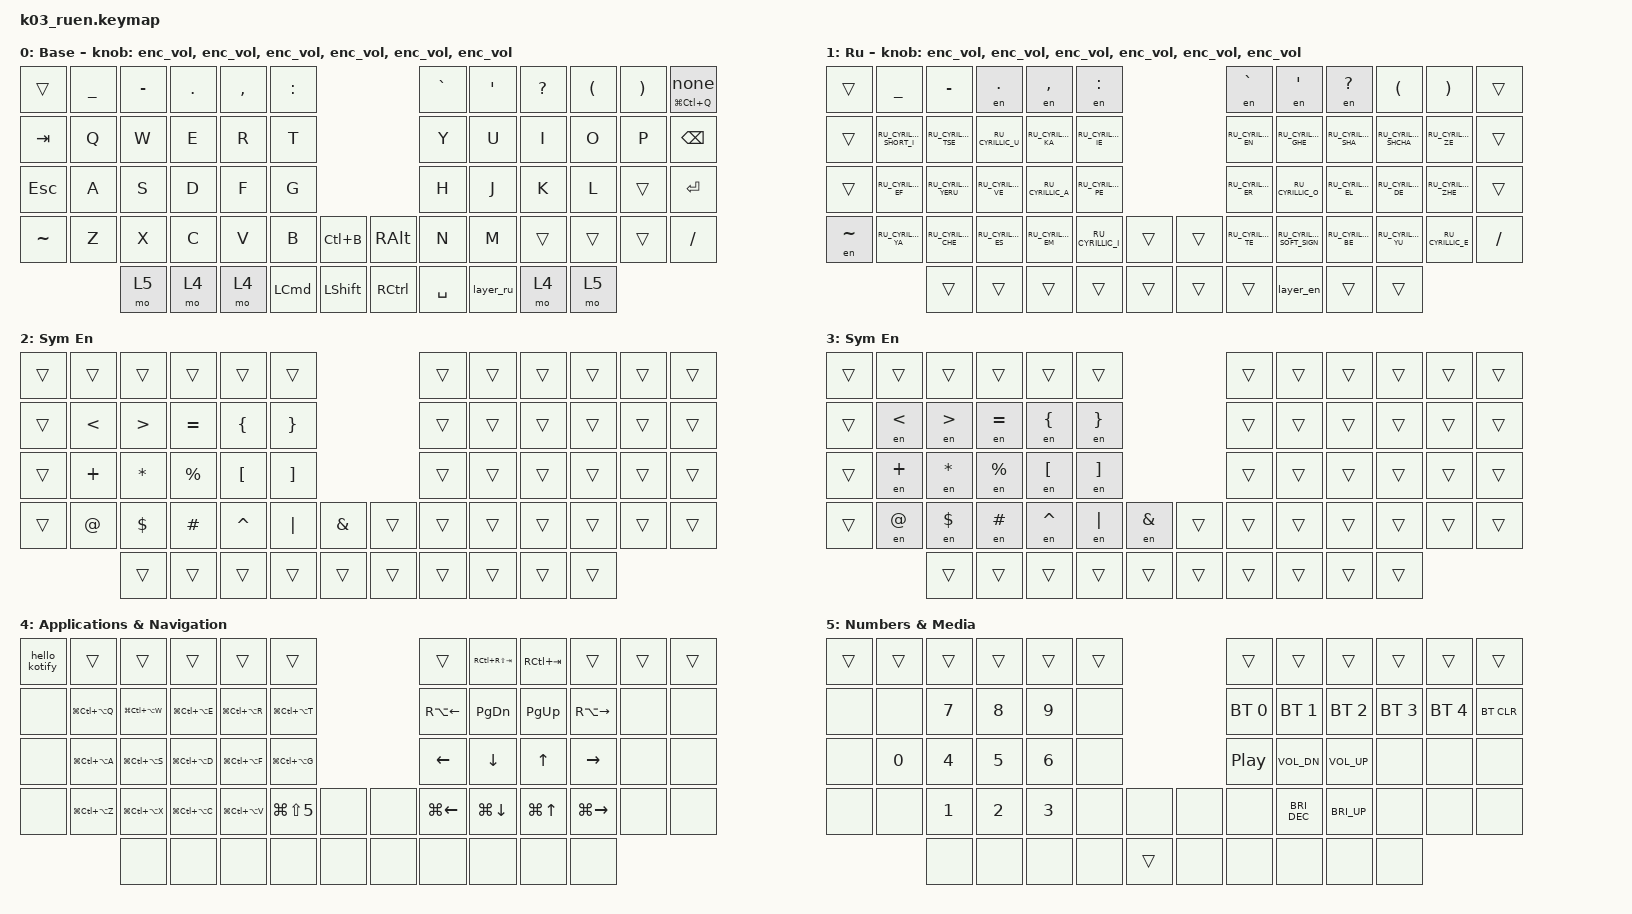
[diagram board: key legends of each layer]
#include "keys_ru.h"
#include <behaviors.dtsi>
#include <dt-bindings/zmk/bt.h>
#include <dt-bindings/zmk/keys.h>

/ {
    behaviors {
        enc_vol: enc_vol {
            compatible = "zmk,behavior-sensor-rotate";
            label = "ENC_VOL";
            #sensor-binding-cells = <0>;
            bindings = <&kp C_VOL_UP>, <&kp C_VOL_DN>;
        };

        long_hold: long_hold {
            compatible = "zmk,behavior-hold-tap";
            label = "LONG_HOLD";
            #binding-cells = <2>;
            flavor = "tap-preferred";
            tapping-term-ms = <1000>;
            bindings = <&kp>, <&none>;
        };
    };

    combos {
        compatible = "zmk,combos";

        kha {
            bindings = <&kp RU_CYRILLIC_HA>;
            key-positions = <19 20>;
            layers = <1>;
        };

        hrdsgn {
            bindings = <&kp RU_CYRILLIC_HARD_SIGN>;
            key-positions = <45 46>;
            layers = <1>;
        };

        semicolon_en {
            bindings = <&kp SEMICOLON>;
            key-positions = <3 4>;
            layers = <0>;
        };

        semicolon_ru {
            bindings = <&en SEMI>;
            key-positions = <3 4>;
            layers = <1>;
        };

        double_quote_en {
            bindings = <&kp DOUBLE_QUOTES>;
            key-positions = <6 7>;
            layers = <0>;
        };

        yo {
            bindings = <&kp BACKSLASH>;
            key-positions = <17 16>;
            layers = <1>;
        };

        exclamation {
            bindings = <&kp EXCLAMATION>;
            key-positions = <7 8>;
        };

        sym_en {
            bindings = <&mo 2>;
            key-positions = <58 59>;
            layers = <0>;
        };

        sym_ru {
            bindings = <&mo 3>;
            key-positions = <58 59>;
            layers = <1>;
        };

        back_slash_en {
            bindings = <&kp BACKSLASH>;
            key-positions = <49 48>;
            layers = <0>;
        };

        backslash_ru {
            bindings = <&en BACKSLASH>;
            key-positions = <49 48>;
            layers = <1>;
        };

        double_quote_ru {
            bindings = <&en DOUBLE_QUOTES>;
            key-positions = <6 7>;
            layers = <1>;
        };
    };

    macros {
        to_ru: to_ru {
            compatible = "zmk,behavior-macro";
            #binding-cells = <0>;
            bindings = <&kp LS(LC(N2))>;
            label = "TO_RU";
            wait-ms = <0>;
            tap-ms = <30>;
        };

        to_en: to_en {
            compatible = "zmk,behavior-macro";
            #binding-cells = <0>;
            bindings = <&kp LS(LC(N1))>;
            label = "TO_EN";
            wait-ms = <0>;
            tap-ms = <30>;
        };

        layer_en: layer_en {
            compatible = "zmk,behavior-macro";
            #binding-cells = <0>;
            bindings = <&to 0 &to_en>;
            label = "LAYER_EN";
            wait-ms = <0>;
            tap-ms = <30>;
        };

        layer_ru: layer_ru {
            compatible = "zmk,behavior-macro";
            #binding-cells = <0>;
            bindings = <&to 1 &to_ru>;
            label = "LAYER_RU";
            tap-ms = <30>;
            wait-ms = <0>;
        };

        en: en {
            compatible = "zmk,behavior-macro-one-param";
            #binding-cells = <1>;
            bindings =
                <&to_en>,
                <&macro_press>,
                <&macro_param_1to1 &kp MACRO_PLACEHOLDER>,
                <&macro_pause_for_release>,
                <&macro_release>,
                <&macro_param_1to1 &kp MACRO_PLACEHOLDER>,
                <&macro_tap>,
                <&to_ru>;

            label = "EN";
            wait-ms = <0>;
            tap-ms = <30>;
        };

        hello_kotify: hello_kotify {
            compatible = "zmk,behavior-macro";
            #binding-cells = <0>;
            bindings =
                <&kp LG(LA(LC(G)))>,
                <&macro_wait_time 50>,
                <&kp ESC &kp ESC &kp LG(F)>,
                <&macro_wait_time 50>,
                <&kp K &kp O &kp T &kp I &kp F &kp Y &kp SPACE &kp S &kp E &kp R>,
                <&macro_wait_time 300>,
                <&kp ENTER>,
                <&macro_wait_time 100>,
                <&kp LS(LC(N2))>,
                <&macro_wait_time 50>,
                <&kp LS(G) &kp H &kp B &kp D &kp T &kp N>,
                <&macro_wait_time 50>,
                <&kp LS(LC(N1))>;

            label = "HELLO_KOTIFY";
        };
    };

    keymap {
        compatible = "zmk,keymap";

        en {
            bindings = <
&trans     &kp UNDERSCORE  &kp MINUS  &kp DOT  &kp COMMA  &kp COLON                                          &kp GRAVE  &kp SINGLE_QUOTE  &kp QUESTION  &kp LEFT_PARENTHESIS  &kp RIGHT_PARENTHESIS  &long_hold LG(LC(Q)) 0
&kp TAB    &kp Q           &kp W      &kp E    &kp R      &kp T                                              &kp Y      &kp U             &kp I         &kp O                 &kp P                  &kp BACKSPACE
&kp ESC    &kp A           &kp S      &kp D    &kp F      &kp G                                              &kp H      &kp J             &kp K         &kp L                 &trans                 &kp ENTER
&kp TILDE  &kp Z           &kp X      &kp C    &kp V      &kp B             &kp LC(B)         &kp RIGHT_ALT  &kp N      &kp M             &trans        &trans                &trans                 &kp SLASH
                           &mo 5      &mo 4    &mo 4      &kp LEFT_COMMAND  &kp LEFT_SHIFT    &kp RCTRL      &kp SPACE  &layer_ru         &mo 4         &mo 5
            >;

            display-name = "Base";
            sensor-bindings =
                <&enc_vol>,
                <&enc_vol>,
                <&enc_vol>,
                <&enc_vol>,
                <&enc_vol>,
                <&enc_vol>;
        };

        ru {
            display-name = "Ru";
            bindings = <
&trans     &kp UNDERSCORE           &kp MINUS             &en DOT             &en COMMA           &en COLON                             &en GRAVE           &en SINGLE_QUOTE           &en QUESTION         &kp LEFT_PARENTHESIS   &kp RIGHT_PARENTHESIS  &trans
&trans     &kp RU_CYRILLIC_SHORT_I  &kp RU_CYRILLIC_TSE   &kp RU_CYRILLIC_U   &kp RU_CYRILLIC_KA  &kp RU_CYRILLIC_IE                    &kp RU_CYRILLIC_EN  &kp RU_CYRILLIC_GHE        &kp RU_CYRILLIC_SHA  &kp RU_CYRILLIC_SHCHA  &kp RU_CYRILLIC_ZE     &trans
&trans     &kp RU_CYRILLIC_EF       &kp RU_CYRILLIC_YERU  &kp RU_CYRILLIC_VE  &kp RU_CYRILLIC_A   &kp RU_CYRILLIC_PE                    &kp RU_CYRILLIC_ER  &kp RU_CYRILLIC_O          &kp RU_CYRILLIC_EL   &kp RU_CYRILLIC_DE     &kp RU_CYRILLIC_ZHE    &trans
&en TILDE  &kp RU_CYRILLIC_YA       &kp RU_CYRILLIC_CHE   &kp RU_CYRILLIC_ES  &kp RU_CYRILLIC_EM  &kp RU_CYRILLIC_I   &trans    &trans  &kp RU_CYRILLIC_TE  &kp RU_CYRILLIC_SOFT_SIGN  &kp RU_CYRILLIC_BE   &kp RU_CYRILLIC_YU     &kp RU_CYRILLIC_E      &kp SLASH
                                    &trans                &trans              &trans              &trans              &trans    &trans  &trans              &layer_en                  &trans               &trans
            >;

            sensor-bindings =
                <&enc_vol>,
                <&enc_vol>,
                <&enc_vol>,
                <&enc_vol>,
                <&enc_vol>,
                <&enc_vol>;
        };

        sym_en {
            bindings = <
&trans  &trans         &trans            &trans       &trans            &trans                                 &trans  &trans  &trans  &trans  &trans  &trans
&trans  &kp LESS_THAN  &kp GREATER_THAN  &kp EQUAL    &kp LEFT_BRACE    &kp RIGHT_BRACE                        &trans  &trans  &trans  &trans  &trans  &trans
&trans  &kp PLUS       &kp ASTERISK      &kp PERCENT  &kp LEFT_BRACKET  &kp RIGHT_BRACKET                      &trans  &trans  &trans  &trans  &trans  &trans
&trans  &kp AT         &kp DOLLAR        &kp HASH     &kp CARET         &kp PIPE           &kp AMPS    &trans  &trans  &trans  &trans  &trans  &trans  &trans
                       &trans            &trans       &trans            &trans             &trans      &trans  &trans  &trans  &trans  &trans
            >;

            display-name = "Sym En";
        };

        sym_ru {
            bindings = <
&trans  &trans         &trans            &trans       &trans            &trans                                 &trans  &trans  &trans  &trans  &trans  &trans
&trans  &en LESS_THAN  &en GREATER_THAN  &en EQUAL    &en LEFT_BRACE    &en RIGHT_BRACE                        &trans  &trans  &trans  &trans  &trans  &trans
&trans  &en PLUS       &en ASTERISK      &en PERCENT  &en LEFT_BRACKET  &en RIGHT_BRACKET                      &trans  &trans  &trans  &trans  &trans  &trans
&trans  &en AT         &en DOLLAR        &en HASH     &en CARET         &en PIPE           &en AMPS    &trans  &trans  &trans  &trans  &trans  &trans  &trans
                       &trans            &trans       &trans            &trans             &trans      &trans  &trans  &trans  &trans  &trans
            >;

            display-name = "Sym En";
        };

        apps_nav {
            bindings = <
&hello_kotify  &trans             &trans             &trans             &trans             &trans                                &trans              &kp RC(RS(TAB))  &kp RC(TAB)   &trans               &trans  &trans
&none          &kp LG(LC(LA(Q)))  &kp LG(LC(LA(W)))  &kp LG(LC(LA(E)))  &kp LG(LC(LA(R)))  &kp LG(LC(LA(T)))                     &kp RA(LEFT_ARROW)  &kp PAGE_DOWN    &kp PAGE_UP   &kp RA(RIGHT_ARROW)  &none   &none
&none          &kp LG(LC(LA(A)))  &kp LG(LC(LA(S)))  &kp LG(LC(LA(D)))  &kp LG(LC(LA(F)))  &kp LG(LC(LA(G)))                     &kp LEFT            &kp DOWN_ARROW   &kp UP_ARROW  &kp RIGHT            &none   &none
&none          &kp LG(LC(LA(Z)))  &kp LG(LC(LA(X)))  &kp LG(LC(LA(C)))  &kp LG(LC(LA(V)))  &kp LG(LS(NUMBER_5))  &none    &none  &kp LG(LEFT_ARROW)  &kp LG(DOWN)     &kp LG(UP)    &kp LG(RIGHT_ARROW)  &none   &none
                                  &none              &none              &none              &none                 &none    &none  &none               &none            &none         &none
            >;

            label = "Applications & Navigation";
        };

        num_media {
            bindings = <
&trans  &trans  &trans  &trans  &trans  &trans                   &trans            &trans                &trans        &trans        &trans        &trans
&none   &none   &kp N7  &kp N8  &kp N9  &none                    &bt BT_SEL 0      &bt BT_SEL 1          &bt BT_SEL 2  &bt BT_SEL 3  &bt BT_SEL 4  &bt BT_CLR
&none   &kp N0  &kp N4  &kp N5  &kp N6  &none                    &kp C_PLAY_PAUSE  &kp C_VOL_DN          &kp C_VOL_UP  &none         &none         &none
&none   &none   &kp N1  &kp N2  &kp N3  &none   &none     &none  &none             &kp C_BRIGHTNESS_DEC  &kp C_BRI_UP  &none         &none         &none
                &none   &none   &none   &none   &trans    &none  &none             &none                 &none         &none
            >;

            display-name = "Numbers & Media";
        };
    };
};
